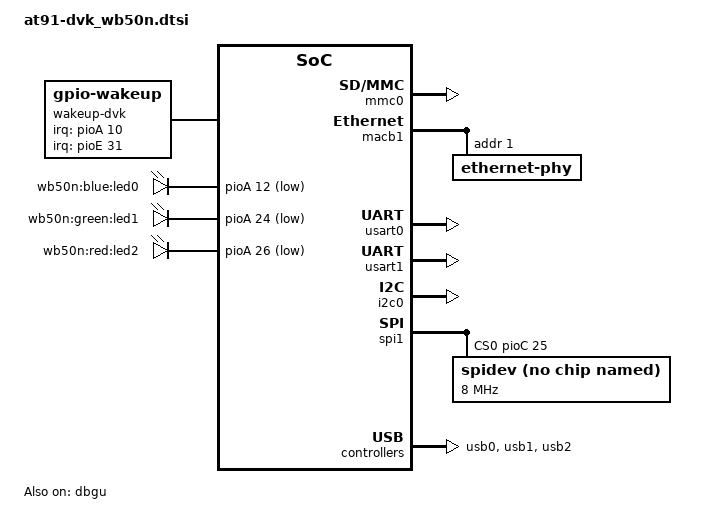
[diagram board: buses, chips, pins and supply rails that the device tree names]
// SPDX-License-Identifier: GPL-2.0
/*
 * at91-dvk_wb50n.dtsi - Device Tree include file for WB50N Evaluation Board
 *
 *  Copyright (C) 2018-2020 Laird Connectivity
 *
 */

/ {
	wakeup-dvk {
		pinctrl-names = "default";
		pinctrl-0 = <&pinctrl_wake>;

		compatible = "gpio-wakeup";

		interrupt-names = "ext-wake", "button-wake";
		interrupts-extended = <&pioA 10 IRQ_TYPE_EDGE_FALLING>,
			<&pioE 31 IRQ_TYPE_EDGE_FALLING>;
	};

	leds {
		compatible = "gpio-leds";

		led0 {
			label = "wb50n:blue:led0";
			gpios = <&pioA 12 GPIO_ACTIVE_LOW>;
			default-state = "off";
		};

		led1 {
			label = "wb50n:green:led1";
			gpios = <&pioA 24 GPIO_ACTIVE_LOW>;
			default-state = "off";
		};

		led2 {
			label = "wb50n:red:led2";
			gpios = <&pioA 26 GPIO_ACTIVE_LOW>;
			default-state = "off";
		};
	};

	ahb {
		apb {
			tdes@f803c000 {
				// Disabled due shortage of DMA channels
				status = "disabled";
			};
		};
	};
};

&pinctrl {
	board {
		pinctrl_mmc0_cd: mmc0_cd {
			atmel,pins = <AT91_PIOC 26 AT91_PERIPH_GPIO AT91_PINCTRL_PULL_UP_DEGLITCH>; /* PC26 GPIO with pullup deglitch */
		};

		pinctrl_usba_vbus: usba_vbus {
			atmel,pins = <AT91_PIOB 13 AT91_PERIPH_GPIO AT91_PINCTRL_DEGLITCH>; /* PB13 GPIO with deglitch */
		};

		pinctrl_usb_vbus: usb_vbus {
			atmel,pins =
				<AT91_PIOA 2 AT91_PERIPH_GPIO AT91_PINCTRL_NONE>,
				<AT91_PIOA 4 AT91_PERIPH_GPIO AT91_PINCTRL_DEGLITCH>;
		};

		pinctrl_spi0_cs: spi0_cs {
			atmel,pins =
				<AT91_PIOC 25 AT91_PERIPH_GPIO AT91_PINCTRL_NONE>;
		};

		pinctrl_wake: wake {
			atmel,pins =
				<AT91_PIOA 10 AT91_PERIPH_GPIO AT91_PINCTRL_PULL_UP_DEGLITCH>,
				<AT91_PIOE 31 AT91_PERIPH_GPIO AT91_PINCTRL_PULL_UP_DEGLITCH>;
		};
	};
};

&mmc0 {
	pinctrl-names = "default";
	pinctrl-0 = <&pinctrl_mmc0_clk_cmd_dat0 &pinctrl_mmc0_dat1_3 &pinctrl_mmc0_cd>;

	status = "okay";

	slot@0 {
		cd-gpios = <&pioC 26 GPIO_ACTIVE_LOW>;
	};
};

&macb1 {
	status = "okay";

	ethernet-phy@1 {
		reg = <1>;
	};
};

&dbgu {
	status = "okay";

	atmel,use-dma-tx;
};

/* On BB40 this port is labeled UART1 */
&usart0 {
	pinctrl-names = "default";
	pinctrl-0 = <&pinctrl_usart0 &pinctrl_usart0_rts_cts>;

	atmel,use-dma-rx;
	atmel,use-dma-tx;

	status = "okay";
};

/* On BB40 this port is labeled UART0 */
&usart1 {
	pinctrl-names = "default";
	pinctrl-0 = <&pinctrl_usart1 &pinctrl_usart1_rts_cts>;

	atmel,use-dma-rx;
	atmel,use-dma-tx;

	dtr-gpios = <&pioD 13 GPIO_ACTIVE_LOW>;
	dsr-gpios = <&pioD 11 GPIO_ACTIVE_LOW>;
	dcd-gpios = <&pioD 7 GPIO_ACTIVE_LOW>;
	rng-gpios = <&pioD 8 GPIO_ACTIVE_LOW>;

	status = "okay";
};

&i2c0 {
	status = "okay";
};

&spi1 {
	pinctrl-names = "default";
	pinctrl-0 = <&pinctrl_spi0 &pinctrl_spi0_cs>;

	cs-gpios = <&pioC 25 0>, <0>, <0>, <0>;

	status = "okay";

	spidev@0 {
		compatible = "spidev";
		reg = <0>;
		spi-max-frequency = <8000000>;
	};
};

&usb0 {
	pinctrl-names = "default";
	pinctrl-0 = <&pinctrl_usba_vbus>;

	atmel,vbus-gpio = <&pioB 13 GPIO_ACTIVE_LOW>;

	status = "okay";
};

&usb1 {
	pinctrl-names = "default";
	pinctrl-0 = <&pinctrl_usb_vbus>;

	num-ports = <3>;
	atmel,vbus-gpio = <&pioA 2 GPIO_ACTIVE_LOW>;
	atmel,oc-gpio = <&pioA 4 GPIO_ACTIVE_HIGH>;

	status = "okay";
};

&usb2 {
	status = "okay";
};
